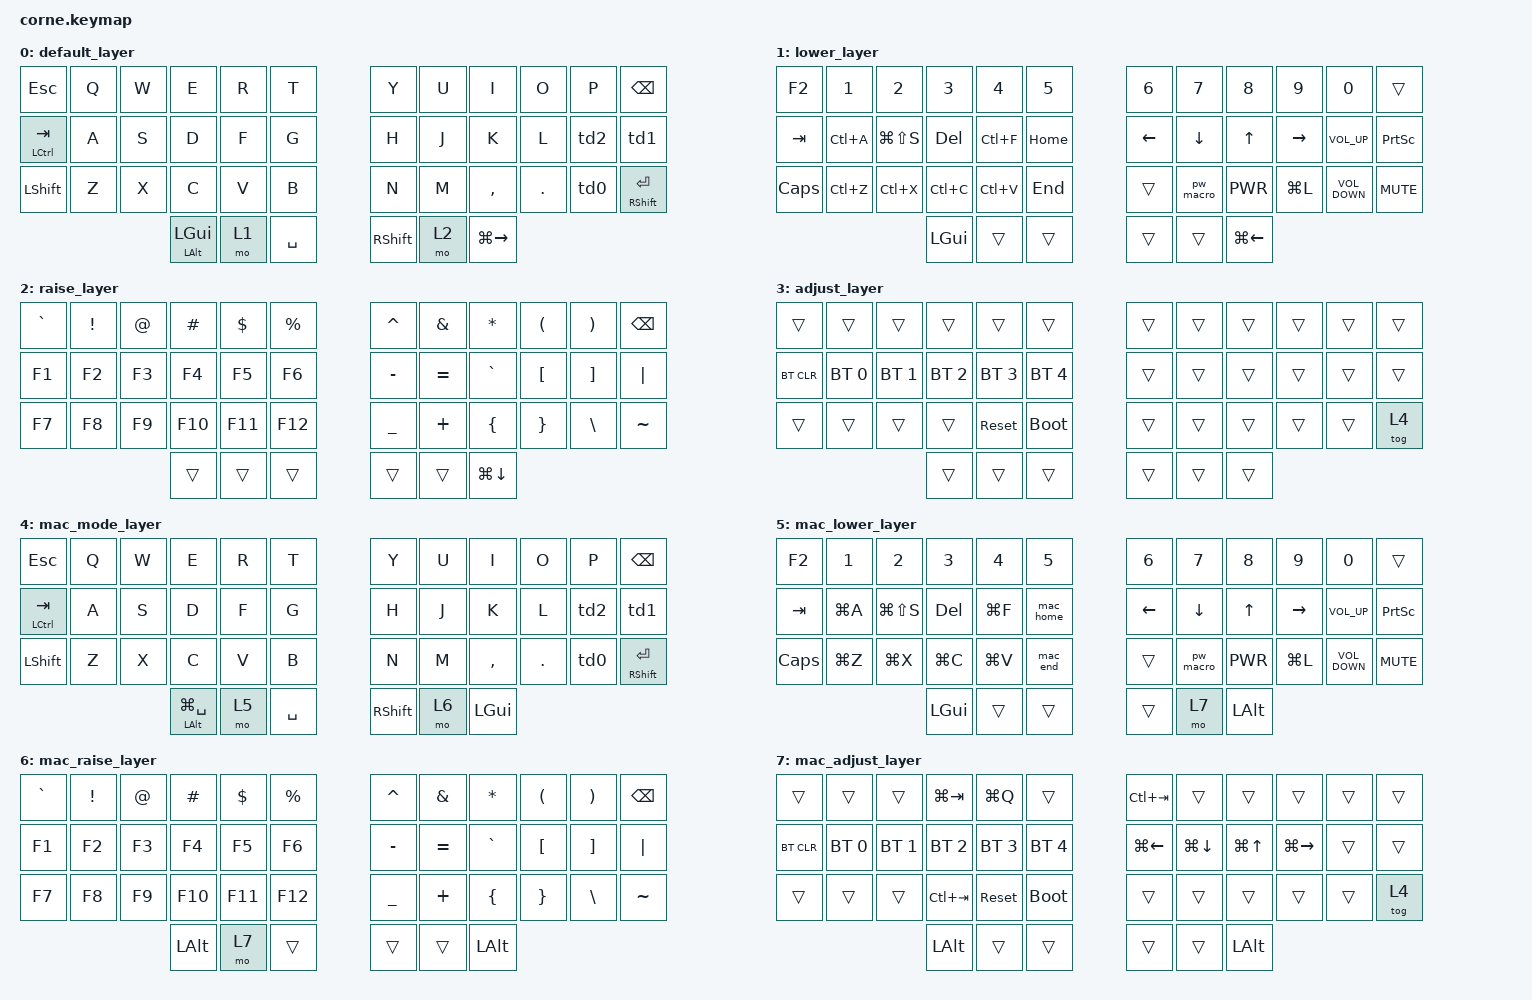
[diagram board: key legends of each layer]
/*
 * Copyright (c) 2020 The ZMK Contributors
 *
 * SPDX-License-Identifier: MIT
 */

#include <behaviors.dtsi>
#include <dt-bindings/zmk/keys.h>
#include <dt-bindings/zmk/bt.h>

&kscan0 {
    debounce-period = <20>;
};

/ {
    macros {
        pw_macro: pw_macro {
            label = "ZM_PW";
            compatible = "zmk,behavior-macro";
            #binding-cells = <0>;
            wait-ms = <0>;
            tap-ms = <0>;
            bindings
                = <&macro_press &kp LSHFT>
                , <&macro_tap &kp Z>
                , <&macro_release &kp LSHFT>
                , <&macro_tap &kp X &kp W &kp E &kp N5 &kp N6 &kp N3 &kp N4 &kp EXCL>
                ;
        };
        
        // Windows-style Ctrl+A (Select All) -> Mac Cmd+A
        mac_select_all: mac_select_all {
            label = "MAC_SELECT_ALL";
            compatible = "zmk,behavior-macro";
            #binding-cells = <0>;
            wait-ms = <0>;
            tap-ms = <0>;
            bindings = <&kp LG(A)>;
        };
        
        // Windows-style Alt+F4 (Close Window) -> Mac Cmd+Q  
        mac_quit_app: mac_quit_app {
            label = "MAC_QUIT_APP";
            compatible = "zmk,behavior-macro";
            #binding-cells = <0>;
            wait-ms = <0>;
            tap-ms = <0>;
            bindings = <&kp LG(Q)>;
        };
        
        // Windows-style Ctrl+Shift+T (Reopen Tab) -> Mac Cmd+Shift+T
        mac_reopen_tab: mac_reopen_tab {
            label = "MAC_REOPEN_TAB";
            compatible = "zmk,behavior-macro";
            #binding-cells = <0>;
            wait-ms = <0>;
            tap-ms = <0>;
            bindings = <&kp LG(LS(T))>;
        };
        
        // Windows-style Alt+Tab (App Switcher) -> Mac Cmd+Tab
        mac_app_switch: mac_app_switch {
            label = "MAC_APP_SWITCH";
            compatible = "zmk,behavior-macro";
            #binding-cells = <0>;
            wait-ms = <0>;
            tap-ms = <0>;
            bindings = <&kp LG(TAB)>;
        };

        // Windows-style Home key -> Mac Cmd+Left (beginning of line)
        mac_home: mac_home {
            label = "MAC_HOME";
            compatible = "zmk,behavior-macro";
            #binding-cells = <0>;
            wait-ms = <0>;
            tap-ms = <0>;
            bindings = <&kp LG(LEFT)>;
        };
        
        // Windows-style End key -> Mac Cmd+Right (end of line)
        mac_end: mac_end {
            label = "MAC_END";
            compatible = "zmk,behavior-macro";
            #binding-cells = <0>;
            wait-ms = <0>;
            tap-ms = <0>;
            bindings = <&kp LG(RIGHT)>;
        };
    };

    behaviors {
        td0: tap_dance_0 {
            compatible = "zmk,behavior-tap-dance";
            label = "TAP_DANCE_0";
            #binding-cells = <0>;
            tapping-term-ms = <200>;
            bindings = <&kp FSLH>, <&kp QMARK>;
        };
        
        td1: tap_dance_1 {
            compatible = "zmk,behavior-tap-dance";
            label = "TAP_DANCE_1";
            #binding-cells = <0>;
            tapping-term-ms = <200>;
            bindings = <&kp SQT>, <&kp DQT>;
        };
        
        td2: tap_dance_2 {
            compatible = "zmk,behavior-tap-dance";
            label = "TAP_DANCE_2";
            #binding-cells = <0>;
            tapping-term-ms = <200>;
            bindings = <&kp SEMI>, <&kp COLON>;
        };
        
        td4: tap_dance_4 {
            compatible = "zmk,behavior-tap-dance";
            label = "TAP_DANCE_4";
            #binding-cells = <0>;
            tapping-term-ms = <200>;
            bindings = <&mt LALT LGUI>, <&kp LGUI>;
        };
    };

    conditional_layers {
        compatible = "zmk,conditional-layers";
        // Cuando lower (1) y raise (2) están activos, activa adjust (3)
        tri_layer {
            if-layers = <1 2>;
            then-layer = <3>;
        };
    };

    keymap {
        compatible = "zmk,keymap";

        default_layer {
// -----------------------------------------------------------------------------------------
// |  ESC |  Q  |  W  |  E  |  R  |  T  |   |  Y  |  U   |  I  |  O  |  P  | BKSP |
// | CTLTB|  A  |  S  |  D  |  F  |  G  |   |  H  |  J   |  K  |  L  |  ;  |  '   |
// | SHFT |  Z  |  X  |  C  |  V  |  B  |   |  N  |  M   |  ,  |  .  |  /  |SFTENT|
//                    |GUALT| LWR | SPC |   | SHFT| RSE  | LGR |
            bindings = <
   &kp ESC       &kp Q &kp W &kp E          &kp R &kp T         &kp Y     &kp U  &kp I     &kp O   &kp P  &kp BSPC
   &mt LCTRL TAB &kp A &kp S &kp D          &kp F &kp G         &kp H     &kp J  &kp K     &kp L   &td2   &td1
   &kp LSHFT     &kp Z &kp X &kp C          &kp V &kp B         &kp N     &kp M  &kp COMMA &kp DOT &td0   &mt RSHFT ENTER
                             &mt LALT LGUI  &mo 1 &kp SPACE     &kp RSHFT &mo 2  &kp LG(RIGHT)
            >;
        };
        
        lower_layer {
// -----------------------------------------------------------------------------------------
// |  ESC |  1  |  2  |  3  |  4  |  5  |   |  6  |  7  |  8  |  9  |  0  | BKSP |
// | TAB  | LCA | PTR | DEL | LCF | HOME|   | LFT | DWN |  UP | RGT |VOLUP| PSCRN|
// | CAPS | LCZ | LCX | LCC | LCV | END |   |     | MCO | PWR | LGL |VOLDW| MUTE |
//                    | LGUI|     |     |   |     |     | ALT |
            bindings = <
   &kp F2     &kp N1    &kp N2        &kp N3    &kp N4    &kp N5         &kp N6    &kp N7       &kp N8     &kp N9     &kp N0            &trans
   &kp TAB    &kp LC(A) &kp LG(LS(S)) &kp DEL   &kp LC(F) &kp HOME       &kp LEFT  &kp DOWN     &kp UP     &kp RIGHT  &kp C_VOL_UP      &kp PSCRN
   &kp CAPS   &kp LC(Z) &kp LC(X)     &kp LC(C) &kp LC(V) &kp END        &trans    &pw_macro    &kp K_PWR  &kp LG(L)  &kp C_VOLUME_DOWN &kp C_MUTE
                        &kp LGUI      &trans    &trans                     &trans    &trans       &kp LG(LEFT)
            >;
        };

        raise_layer {
// -----------------------------------------------------------------------------------------
// |  ESC |  !  |  @  |  #  |  $  |  %  |   |  ^  |  &  |  *  |  (  |  )  | BKSP |
// | CTRL |     |     |     |     |     |   |  -  |  =  |GRAVE|  [  |  ]  |  |   |
// | SHFT |     |     |     |     |     |   |  _  |  +  |  {  |  }  |  \  |  ~   |
//                     | GUI |     | SPC |   | ENT |     | ALT |
            bindings = <
   &kp GRAVE &kp EXCL  &kp AT  &kp HASH  &kp DLLR  &kp PRCNT   &kp CARET &kp AMPS  &kp ASTRK &kp LPAR &kp RPAR  &kp BSPC
   &kp F1    &kp F2    &kp F3  &kp F4    &kp F5    &kp F6      &kp MINUS &kp EQUAL &kp GRAVE &kp LBKT &kp RBKT &kp PIPE
   &kp F7    &kp F8    &kp F9  &kp F10   &kp F11   &kp F12     &kp UNDER &kp PLUS  &kp LBRC  &kp RBRC &kp BSLH  &kp TILDE
                               &trans    &trans    &trans      &trans    &trans    &kp LG(DOWN)
            >;
        };
        
        adjust_layer {
// -----------------------------------------------------------------------------------------
// |  ESC |  !  |  @  |  #  |  $  |  %  |   |  ^  |  &  |  *  |  (  |  )  | BKSP |
// | BTCLR| BT1 | BT2 | BT3 | BT4 | BT5 |   |  -  |  =  |  {  |  }  | "|" |  `   |
// |      |     |     |     | RST | BOOT|   |  _  |  +  |  [  |  ]  |  \  |MAC ON|
//                    | GUI |     | SPC |   | ENT |     | ALT |
            bindings = <
   &trans     &trans       &trans       &trans       &trans       &trans            &trans  &trans  &trans   &trans  &trans  &trans 
   &bt BT_CLR &bt BT_SEL 0 &bt BT_SEL 1 &bt BT_SEL 2 &bt BT_SEL 3 &bt BT_SEL 4      &trans  &trans  &trans   &trans  &trans  &trans 
   &trans     &trans       &trans       &trans       &sys_reset   &bootloader       &trans  &trans  &trans   &trans  &trans  &tog 4
                                        &trans       &trans       &trans            &trans  &trans  &trans 
            >;
        };
        


//////////////////////////////////////////////////////////////////////////////////////////////////////////////////////////
//
// Mac Mode
//
//////////////////////////////////////////////////////////////////////////////////////////////////////////////////////////

        mac_mode_layer {
// -----------------------------------------------------------------------------------------
// |  ESC |  Q  |  W  |  E  |  R  |  T  |   |  Y  |  U   |  I  |  O  |  P  | BKSP |
// | LGUI |  A  |  S  |  D  |  F  |  G  |   |  H  |  J   |  K  |  L  |  ;  |  '   |
// | SHFT |  Z  |  X  |  C  |  V  |  B  |   |  N  |  M   |  ,  |  .  |  /  |SFTENT|
//                    | ALT | LWR | SPC |   | SHFT| RSE  | LALT|
// Windows-to-Mac conversions based on karabiner-windows-mode:
// - Main modifier swaps: Ctrl->Cmd, Alt->Option, Win->Ctrl  
// - Common shortcuts: Ctrl+C->Cmd+C, Ctrl+V->Cmd+V, etc.
// - Window management: Alt+Tab->Cmd+Tab, Alt+F4->Cmd+Q
            bindings = <
   &kp ESC         &kp Q &kp W &kp E              &kp R &kp T         &kp Y     &kp U  &kp I     &kp O   &kp P  &kp BSPC
   &mt LCTRL TAB   &kp A &kp S &kp D              &kp F &kp G         &kp H     &kp J  &kp K     &kp L   &td2   &td1
   &kp LSHFT       &kp Z &kp X &kp C              &kp V &kp B         &kp N     &kp M  &kp COMMA &kp DOT &td0   &mt RSHFT ENTER
                               &mt LALT LG(SPACE) &mo 5 &kp SPACE     &kp RSHFT &mo 6  &kp LGUI
            >;
        };
        
        mac_lower_layer {
// -----------------------------------------------------------------------------------------
// |  F2  |  1  |  2  |  3  |  4  |  5  |   |  6  |  7  |  8  |  9  |  0  | BKSP |
// | TAB  | SEL | SPT | DEL | FND | HOME|   | LFT | DWN |  UP | RGT |VOLUP| PSCRN|
// | CAPS | UDO | CUT | CPY | PST | END |   |     | MCO | PWR | LCK |VOLDW| MUTE |
//                    | ALT |     |     |   |     |     | LALT |
// Windows-to-Mac shortcut conversions:
// Ctrl+A -> Cmd+A (Select All), Ctrl+F -> Cmd+F (Find)
// Ctrl+Z -> Cmd+Z (Undo), Ctrl+X -> Cmd+X (Cut)  
// Ctrl+C -> Cmd+C (Copy), Ctrl+V -> Cmd+V (Paste)
            bindings = <
   &kp F2     &kp N1    &kp N2        &kp N3    &kp N4    &kp N5         &kp N6    &kp N7       &kp N8         &kp N9     &kp N0            &trans
   &kp TAB    &kp LG(A) &kp LG(LS(S)) &kp DEL   &kp LG(F) &mac_home      &kp LEFT  &kp DOWN     &kp UP         &kp RIGHT  &kp C_VOL_UP      &kp PSCRN
   &kp CAPS   &kp LG(Z) &kp LG(X)     &kp LG(C) &kp LG(V) &mac_end       &trans    &pw_macro    &kp K_PWR      &kp LG(L)  &kp C_VOLUME_DOWN &kp C_MUTE
                        &kp LGUI      &trans    &trans                   &trans    &mo 7        &kp LALT
            >;
        };

        mac_raise_layer {
// -----------------------------------------------------------------------------------------
// |  ESC |  !  |  @  |  #  |  $  |  %  |   |  ^  |  &  |  *  |  (  |  )  | BKSP |
// |  F1  | F2  | F3  | F4  | F5  | F6  |   |  -  |  =  |GRAVE|  [  |  ]  |  |   |
// |  F7  | F8  | F9  | F10 | F11 | F12 |   |  _  |  +  |  {  |  }  |  \  |  ~   |
//                     | ALT |     | SPC |   | ENT |     | LALT |
// Function keys and symbols remain mostly the same in Mac mode
// Main difference is modifier behavior in combinations
            bindings = <
   &kp GRAVE &kp EXCL  &kp AT  &kp HASH  &kp DLLR  &kp PRCNT   &kp CARET &kp AMPS  &kp ASTRK &kp LPAR &kp RPAR  &kp BSPC
   &kp F1    &kp F2    &kp F3  &kp F4    &kp F5    &kp F6      &kp MINUS &kp EQUAL &kp GRAVE &kp LBKT &kp RBKT  &kp PIPE
   &kp F7    &kp F8    &kp F9  &kp F10   &kp F11   &kp F12     &kp UNDER &kp PLUS  &kp LBRC  &kp RBRC &kp BSLH  &kp TILDE
                               &kp LALT  &mo 7     &trans      &trans    &trans    &kp LALT
            >;
        };
        
        mac_adjust_layer {
// -----------------------------------------------------------------------------------------
// |  ESC |     |     |ALTAB| F4  |     |   | TAB |     |     |     |     | BKSP |
// | BTCLR| BT1 | BT2 | BT3 | BT4 | BT5 |   |WLEFT|WDOWN| WUP |WRGHT|     |      |
// |      |     |     |CTAB | RST | BOOT|   |     |     |     |     |     |MAC OFF|
//                    | ALT |     | SPC |   | ENT |     | LALT |
// Advanced shortcuts based on karabiner-windows-mode:
// Alt+Tab -> Cmd+Tab (App Switcher)
// Alt+F4 -> Cmd+Q (Quit App) 
// Ctrl+Tab -> Ctrl+Tab (Tab switching within apps)
// Window management: Cmd+Arrow for window snapping
            bindings = <
   &trans     &trans       &trans         &kp LG(TAB) &kp LG(Q)     &trans            &kp LC(TAB) &trans        &trans         &trans         &trans  &trans 
   &bt BT_CLR &bt BT_SEL 0 &bt BT_SEL 1   &bt BT_SEL 2 &bt BT_SEL 3 &bt BT_SEL 4      &kp LG(LEFT) &kp LG(DOWN) &kp LG(UP)    &kp LG(RIGHT)  &trans  &trans 
   &trans     &trans       &trans         &kp LC(TAB)  &sys_reset   &bootloader       &trans      &trans        &trans         &trans         &trans  &tog 4
                                          &kp LALT     &trans       &trans            &trans      &trans        &kp LALT 
            >;
        };
    };
};
